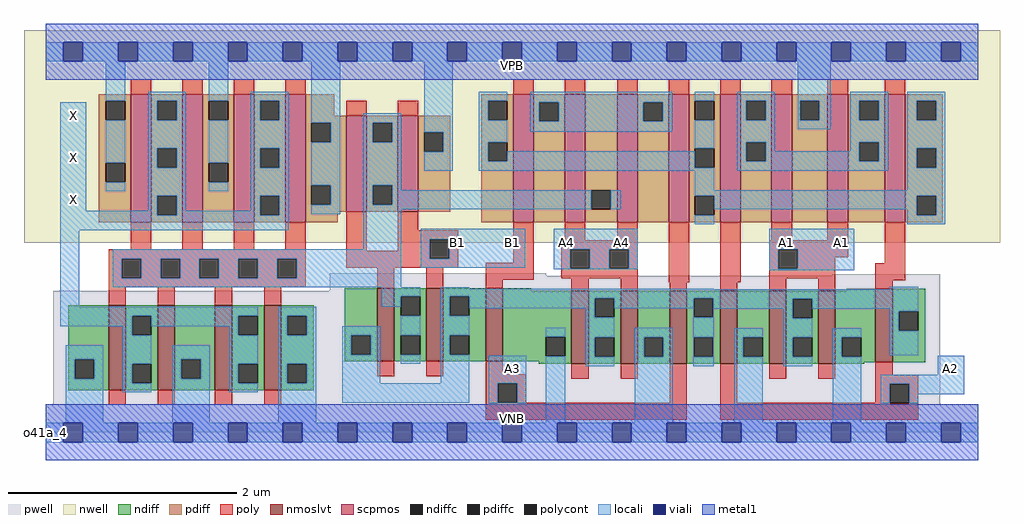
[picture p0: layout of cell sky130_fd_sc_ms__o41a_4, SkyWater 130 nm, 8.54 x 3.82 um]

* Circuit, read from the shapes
.subckt sky130_fd_sc_ms__o41a_4 A1 A2 A3 A4 B1 VGND VNB VPB VPWR X
XM1 X n1 VGND VNB sky130_fd_pr__nfet_01v8_lvt w=0.74 l=0.15 m=4
XM2 n1 B1 n2 VNB sky130_fd_pr__nfet_01v8_lvt w=0.64 l=0.15 m=2
XM3 VGND A3 n2 VNB sky130_fd_pr__nfet_01v8_lvt w=0.64 l=0.15 m=2
XM4 n2 A4 VGND VNB sky130_fd_pr__nfet_01v8_lvt w=0.64 l=0.15 m=2
XM5 VGND A2 n2 VNB sky130_fd_pr__nfet_01v8_lvt w=0.64 l=0.15 m=2
XM6 n2 A1 VGND VNB sky130_fd_pr__nfet_01v8_lvt w=0.64 l=0.15 m=2
XM7 X n1 VPWR VPB sky130_fd_pr__pfet_01v8 w=1.12 l=0.18 m=4
XM8 n1 B1 VPWR VPB sky130_fd_pr__pfet_01v8 w=0.84 l=0.18 m=2
XM9 n3 A3 n4 VPB sky130_fd_pr__pfet_01v8 w=1.12 l=0.18 m=2
XM10 n1 A4 n3 VPB sky130_fd_pr__pfet_01v8 w=1.12 l=0.18 m=2
XM11 n5 A2 n4 VPB sky130_fd_pr__pfet_01v8 w=1.12 l=0.18 m=2
XM12 VPWR A1 n5 VPB sky130_fd_pr__pfet_01v8 w=1.12 l=0.18 m=2
.ends

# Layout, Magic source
magic
tech sky130A
magscale 1 2
<< nwell >>
rect -38 332 1670 704
<< pwell >>
rect 497 274 876 278
rect 1376 274 1565 277
rect 497 248 1565 274
rect 13 49 1565 248
rect 0 0 1632 49
<< scpmos >>
rect 149 368 185 592
rect 239 368 275 592
rect 329 368 365 592
rect 419 368 455 592
rect 526 386 562 554
rect 616 386 652 554
rect 818 368 854 592
rect 908 368 944 592
rect 1000 368 1036 592
rect 1090 368 1126 592
rect 1180 368 1216 592
rect 1270 368 1306 592
rect 1368 368 1404 592
rect 1468 368 1504 592
<< nmoslvt >>
rect 110 74 140 222
rect 196 74 226 222
rect 296 74 326 222
rect 382 74 412 222
rect 580 124 610 252
rect 666 124 696 252
rect 770 124 800 252
rect 920 120 950 248
rect 1006 120 1036 248
rect 1092 120 1122 248
rect 1180 120 1210 248
rect 1266 120 1296 248
rect 1352 120 1382 248
rect 1452 123 1482 251
<< ndiff >>
rect 39 128 110 222
rect 39 94 51 128
rect 85 94 110 128
rect 39 74 110 94
rect 140 204 196 222
rect 140 170 151 204
rect 185 170 196 204
rect 140 120 196 170
rect 140 86 151 120
rect 185 86 196 120
rect 140 74 196 86
rect 226 128 296 222
rect 226 94 237 128
rect 271 94 296 128
rect 226 74 296 94
rect 326 204 382 222
rect 326 170 337 204
rect 371 170 382 204
rect 326 120 382 170
rect 326 86 337 120
rect 371 86 382 120
rect 326 74 382 86
rect 412 204 469 222
rect 412 170 423 204
rect 457 170 469 204
rect 412 120 469 170
rect 523 170 580 252
rect 523 136 535 170
rect 569 136 580 170
rect 523 124 580 136
rect 610 238 666 252
rect 610 204 621 238
rect 655 204 666 238
rect 610 170 666 204
rect 610 136 621 170
rect 655 136 666 170
rect 610 124 666 136
rect 696 238 770 252
rect 696 204 707 238
rect 741 204 770 238
rect 696 170 770 204
rect 696 136 707 170
rect 741 136 770 170
rect 696 124 770 136
rect 800 248 850 252
rect 1402 248 1452 251
rect 800 167 920 248
rect 800 133 875 167
rect 909 133 920 167
rect 800 124 920 133
rect 412 86 423 120
rect 457 86 469 120
rect 863 120 920 124
rect 950 235 1006 248
rect 950 201 961 235
rect 995 201 1006 235
rect 950 166 1006 201
rect 950 132 961 166
rect 995 132 1006 166
rect 950 120 1006 132
rect 1036 166 1092 248
rect 1036 132 1047 166
rect 1081 132 1092 166
rect 1036 120 1092 132
rect 1122 235 1180 248
rect 1122 201 1134 235
rect 1168 201 1180 235
rect 1122 166 1180 201
rect 1122 132 1134 166
rect 1168 132 1180 166
rect 1122 120 1180 132
rect 1210 166 1266 248
rect 1210 132 1221 166
rect 1255 132 1266 166
rect 1210 120 1266 132
rect 1296 234 1352 248
rect 1296 200 1307 234
rect 1341 200 1352 234
rect 1296 166 1352 200
rect 1296 132 1307 166
rect 1341 132 1352 166
rect 1296 120 1352 132
rect 1382 166 1452 248
rect 1382 132 1393 166
rect 1427 132 1452 166
rect 1382 123 1452 132
rect 1482 212 1539 251
rect 1482 178 1493 212
rect 1527 178 1539 212
rect 1482 123 1539 178
rect 1382 120 1432 123
rect 412 74 469 86
<< pdiff >>
rect 93 580 149 592
rect 93 546 105 580
rect 139 546 149 580
rect 93 472 149 546
rect 93 438 105 472
rect 139 438 149 472
rect 93 368 149 438
rect 185 580 239 592
rect 185 546 195 580
rect 229 546 239 580
rect 185 497 239 546
rect 185 463 195 497
rect 229 463 239 497
rect 185 414 239 463
rect 185 380 195 414
rect 229 380 239 414
rect 185 368 239 380
rect 275 580 329 592
rect 275 546 285 580
rect 319 546 329 580
rect 275 472 329 546
rect 275 438 285 472
rect 319 438 329 472
rect 275 368 329 438
rect 365 580 419 592
rect 365 546 375 580
rect 409 546 419 580
rect 365 497 419 546
rect 365 463 375 497
rect 409 463 419 497
rect 365 414 419 463
rect 365 380 375 414
rect 409 380 419 414
rect 365 368 419 380
rect 455 554 505 592
rect 762 580 818 592
rect 455 542 526 554
rect 455 508 465 542
rect 499 508 526 542
rect 455 432 526 508
rect 455 398 465 432
rect 499 398 526 432
rect 455 386 526 398
rect 562 542 616 554
rect 562 508 572 542
rect 606 508 616 542
rect 562 432 616 508
rect 562 398 572 432
rect 606 398 616 432
rect 562 386 616 398
rect 652 525 708 554
rect 652 491 662 525
rect 696 491 708 525
rect 652 386 708 491
rect 762 546 774 580
rect 808 546 818 580
rect 762 508 818 546
rect 762 474 774 508
rect 808 474 818 508
rect 455 368 511 386
rect 762 368 818 474
rect 854 578 908 592
rect 854 544 864 578
rect 898 544 908 578
rect 854 368 908 544
rect 944 424 1000 592
rect 944 390 955 424
rect 989 390 1000 424
rect 944 368 1000 390
rect 1036 578 1090 592
rect 1036 544 1046 578
rect 1080 544 1090 578
rect 1036 368 1090 544
rect 1126 580 1180 592
rect 1126 546 1136 580
rect 1170 546 1180 580
rect 1126 497 1180 546
rect 1126 463 1136 497
rect 1170 463 1180 497
rect 1126 414 1180 463
rect 1126 380 1136 414
rect 1170 380 1180 414
rect 1126 368 1180 380
rect 1216 580 1270 592
rect 1216 546 1226 580
rect 1260 546 1270 580
rect 1216 508 1270 546
rect 1216 474 1226 508
rect 1260 474 1270 508
rect 1216 368 1270 474
rect 1306 580 1368 592
rect 1306 546 1320 580
rect 1354 546 1368 580
rect 1306 368 1368 546
rect 1404 580 1468 592
rect 1404 546 1424 580
rect 1458 546 1468 580
rect 1404 508 1468 546
rect 1404 474 1424 508
rect 1458 474 1468 508
rect 1404 368 1468 474
rect 1504 580 1570 592
rect 1504 546 1524 580
rect 1558 546 1570 580
rect 1504 497 1570 546
rect 1504 463 1524 497
rect 1558 463 1570 497
rect 1504 414 1570 463
rect 1504 380 1524 414
rect 1558 380 1570 414
rect 1504 368 1570 380
<< ndiffc >>
rect 51 94 85 128
rect 151 170 185 204
rect 151 86 185 120
rect 237 94 271 128
rect 337 170 371 204
rect 337 86 371 120
rect 423 170 457 204
rect 535 136 569 170
rect 621 204 655 238
rect 621 136 655 170
rect 707 204 741 238
rect 707 136 741 170
rect 875 133 909 167
rect 423 86 457 120
rect 961 201 995 235
rect 961 132 995 166
rect 1047 132 1081 166
rect 1134 201 1168 235
rect 1134 132 1168 166
rect 1221 132 1255 166
rect 1307 200 1341 234
rect 1307 132 1341 166
rect 1393 132 1427 166
rect 1493 178 1527 212
<< pdiffc >>
rect 105 546 139 580
rect 105 438 139 472
rect 195 546 229 580
rect 195 463 229 497
rect 195 380 229 414
rect 285 546 319 580
rect 285 438 319 472
rect 375 546 409 580
rect 375 463 409 497
rect 375 380 409 414
rect 465 508 499 542
rect 465 398 499 432
rect 572 508 606 542
rect 572 398 606 432
rect 662 491 696 525
rect 774 546 808 580
rect 774 474 808 508
rect 864 544 898 578
rect 955 390 989 424
rect 1046 544 1080 578
rect 1136 546 1170 580
rect 1136 463 1170 497
rect 1136 380 1170 414
rect 1226 546 1260 580
rect 1226 474 1260 508
rect 1320 546 1354 580
rect 1424 546 1458 580
rect 1424 474 1458 508
rect 1524 546 1558 580
rect 1524 463 1558 497
rect 1524 380 1558 414
<< poly >>
rect 149 592 185 618
rect 239 592 275 618
rect 329 592 365 618
rect 419 592 455 618
rect 818 592 854 618
rect 908 592 944 618
rect 1000 592 1036 618
rect 1090 592 1126 618
rect 1180 592 1216 618
rect 1270 592 1306 618
rect 1368 592 1404 618
rect 1468 592 1504 618
rect 526 554 562 580
rect 616 554 652 580
rect 149 320 185 368
rect 239 320 275 368
rect 329 320 365 368
rect 419 320 455 368
rect 110 304 455 320
rect 110 270 133 304
rect 167 270 201 304
rect 235 270 269 304
rect 303 270 337 304
rect 371 270 405 304
rect 439 270 455 304
rect 526 318 562 386
rect 616 354 652 386
rect 616 338 722 354
rect 616 318 672 338
rect 526 304 672 318
rect 706 304 722 338
rect 526 288 722 304
rect 818 297 854 368
rect 908 336 944 368
rect 1000 336 1036 368
rect 110 254 455 270
rect 110 222 140 254
rect 196 222 226 254
rect 296 222 326 254
rect 382 222 412 254
rect 580 252 610 288
rect 666 252 696 288
rect 770 267 854 297
rect 902 320 1036 336
rect 902 286 918 320
rect 952 286 986 320
rect 1020 286 1036 320
rect 902 270 1036 286
rect 770 252 800 267
rect 920 248 950 270
rect 1006 248 1036 270
rect 1090 263 1126 368
rect 1180 263 1216 368
rect 1270 336 1306 368
rect 1368 336 1404 368
rect 1266 320 1404 336
rect 1266 286 1282 320
rect 1316 306 1404 320
rect 1316 286 1382 306
rect 1468 296 1504 368
rect 1266 270 1382 286
rect 1092 248 1122 263
rect 1180 248 1210 263
rect 1266 248 1296 270
rect 1352 248 1382 270
rect 1452 266 1504 296
rect 1452 251 1482 266
rect 580 98 610 124
rect 666 98 696 124
rect 770 102 800 124
rect 770 86 841 102
rect 920 94 950 120
rect 1006 94 1036 120
rect 110 48 140 74
rect 196 48 226 74
rect 296 48 326 74
rect 382 48 412 74
rect 770 52 791 86
rect 825 52 841 86
rect 1092 52 1122 120
rect 770 22 1122 52
rect 1180 52 1210 120
rect 1266 94 1296 120
rect 1352 94 1382 120
rect 1452 101 1482 123
rect 1452 85 1527 101
rect 1452 52 1477 85
rect 1180 51 1477 52
rect 1511 51 1527 85
rect 1180 22 1527 51
<< polycont >>
rect 133 270 167 304
rect 201 270 235 304
rect 269 270 303 304
rect 337 270 371 304
rect 405 270 439 304
rect 672 304 706 338
rect 918 286 952 320
rect 986 286 1020 320
rect 1282 286 1316 320
rect 791 52 825 86
rect 1477 51 1511 85
<< locali >>
rect 0 649 31 683
rect 65 649 127 683
rect 161 649 223 683
rect 257 649 319 683
rect 353 649 415 683
rect 449 649 511 683
rect 545 649 607 683
rect 641 649 703 683
rect 737 649 799 683
rect 833 649 895 683
rect 929 649 991 683
rect 1025 649 1087 683
rect 1121 649 1183 683
rect 1217 649 1279 683
rect 1313 649 1375 683
rect 1409 649 1471 683
rect 1505 649 1567 683
rect 1601 649 1632 683
rect 105 580 139 649
rect 25 388 71 578
rect 105 472 139 546
rect 105 422 139 438
rect 179 580 245 596
rect 179 546 195 580
rect 229 546 245 580
rect 179 497 245 546
rect 179 463 195 497
rect 229 463 245 497
rect 179 414 245 463
rect 285 580 319 649
rect 285 472 319 546
rect 285 422 319 438
rect 359 580 425 596
rect 359 546 375 580
rect 409 546 425 580
rect 359 497 425 546
rect 359 463 375 497
rect 409 463 425 497
rect 179 388 195 414
rect 25 380 195 388
rect 229 388 245 414
rect 359 414 425 463
rect 359 388 375 414
rect 229 380 375 388
rect 409 380 425 414
rect 465 542 515 649
rect 499 508 515 542
rect 465 432 515 508
rect 499 398 515 432
rect 465 382 515 398
rect 556 542 622 558
rect 556 508 572 542
rect 606 508 622 542
rect 556 432 622 508
rect 662 525 712 649
rect 696 491 712 525
rect 662 458 712 491
rect 758 580 808 596
rect 758 546 774 580
rect 758 508 808 546
rect 848 578 1096 596
rect 848 544 864 578
rect 898 544 1046 578
rect 1080 544 1096 578
rect 848 526 1096 544
rect 1136 580 1170 596
rect 758 474 774 508
rect 1136 497 1170 546
rect 808 474 1136 492
rect 758 463 1136 474
rect 758 458 1170 463
rect 1210 580 1276 596
rect 1210 546 1226 580
rect 1260 546 1276 580
rect 1210 508 1276 546
rect 1316 580 1374 649
rect 1316 546 1320 580
rect 1354 546 1374 580
rect 1316 530 1374 546
rect 1408 580 1474 596
rect 1408 546 1424 580
rect 1458 546 1474 580
rect 1210 474 1226 508
rect 1260 492 1276 508
rect 1408 508 1474 546
rect 1408 492 1424 508
rect 1260 474 1424 492
rect 1458 474 1474 508
rect 1210 458 1474 474
rect 1508 580 1574 596
rect 1508 546 1524 580
rect 1558 546 1574 580
rect 1508 497 1574 546
rect 1508 463 1524 497
rect 1558 463 1574 497
rect 556 398 572 432
rect 606 424 622 432
rect 1136 424 1170 458
rect 1508 424 1574 463
rect 606 398 955 424
rect 556 390 955 398
rect 989 390 1006 424
rect 1136 414 1574 424
rect 25 354 425 380
rect 25 220 59 354
rect 556 320 622 390
rect 1170 390 1524 414
rect 1136 364 1170 380
rect 1508 380 1524 390
rect 1558 380 1574 414
rect 1508 364 1574 380
rect 117 304 622 320
rect 117 270 133 304
rect 167 270 201 304
rect 235 270 269 304
rect 303 270 337 304
rect 371 270 405 304
rect 439 270 622 304
rect 656 338 839 356
rect 656 304 672 338
rect 706 304 839 338
rect 656 288 839 304
rect 889 320 1036 356
rect 889 286 918 320
rect 952 286 986 320
rect 1020 286 1036 320
rect 889 285 1036 286
rect 1266 320 1415 356
rect 1266 286 1282 320
rect 1316 286 1415 320
rect 1266 284 1415 286
rect 117 254 622 270
rect 588 238 655 254
rect 588 220 621 238
rect 25 204 371 220
rect 25 186 151 204
rect 135 170 151 186
rect 185 186 337 204
rect 35 128 101 152
rect 35 94 51 128
rect 85 94 101 128
rect 35 17 101 94
rect 135 120 185 170
rect 321 170 337 186
rect 135 86 151 120
rect 135 70 185 86
rect 221 128 287 152
rect 221 94 237 128
rect 271 94 287 128
rect 221 17 287 94
rect 321 120 371 170
rect 321 86 337 120
rect 321 70 371 86
rect 407 204 473 220
rect 407 170 423 204
rect 457 170 473 204
rect 407 120 473 170
rect 407 86 423 120
rect 457 86 473 120
rect 407 17 473 86
rect 519 170 585 186
rect 519 136 535 170
rect 569 136 585 170
rect 519 86 585 136
rect 621 170 655 204
rect 621 120 655 136
rect 691 251 741 254
rect 691 250 1169 251
rect 1477 250 1527 255
rect 691 238 1527 250
rect 691 204 707 238
rect 741 235 1527 238
rect 741 217 961 235
rect 691 170 741 204
rect 945 201 961 217
rect 995 217 1134 235
rect 691 136 707 170
rect 691 86 741 136
rect 875 167 909 183
rect 519 52 741 86
rect 775 86 841 134
rect 775 52 791 86
rect 825 52 841 86
rect 775 51 841 52
rect 875 17 909 133
rect 945 166 995 201
rect 1133 201 1134 217
rect 1168 234 1527 235
rect 1168 216 1307 234
rect 1168 201 1169 216
rect 945 132 961 166
rect 945 116 995 132
rect 1031 166 1097 183
rect 1031 132 1047 166
rect 1081 132 1097 166
rect 1031 17 1097 132
rect 1133 166 1169 201
rect 1291 200 1307 216
rect 1341 216 1527 234
rect 1133 132 1134 166
rect 1168 132 1169 166
rect 1133 116 1169 132
rect 1205 166 1255 182
rect 1205 132 1221 166
rect 1205 17 1255 132
rect 1291 166 1341 200
rect 1477 212 1527 216
rect 1291 132 1307 166
rect 1291 116 1341 132
rect 1377 166 1427 182
rect 1377 132 1393 166
rect 1477 178 1493 212
rect 1477 135 1527 178
rect 1377 17 1427 132
rect 1561 101 1607 134
rect 1461 85 1607 101
rect 1461 51 1477 85
rect 1511 67 1607 85
rect 1511 51 1527 67
rect 0 -17 31 17
rect 65 -17 127 17
rect 161 -17 223 17
rect 257 -17 319 17
rect 353 -17 415 17
rect 449 -17 511 17
rect 545 -17 607 17
rect 641 -17 703 17
rect 737 -17 799 17
rect 833 -17 895 17
rect 929 -17 991 17
rect 1025 -17 1087 17
rect 1121 -17 1183 17
rect 1217 -17 1279 17
rect 1313 -17 1375 17
rect 1409 -17 1471 17
rect 1505 -17 1567 17
rect 1601 -17 1632 17
<< viali >>
rect 31 649 65 683
rect 127 649 161 683
rect 223 649 257 683
rect 319 649 353 683
rect 415 649 449 683
rect 511 649 545 683
rect 607 649 641 683
rect 703 649 737 683
rect 799 649 833 683
rect 895 649 929 683
rect 991 649 1025 683
rect 1087 649 1121 683
rect 1183 649 1217 683
rect 1279 649 1313 683
rect 1375 649 1409 683
rect 1471 649 1505 683
rect 1567 649 1601 683
rect 31 -17 65 17
rect 127 -17 161 17
rect 223 -17 257 17
rect 319 -17 353 17
rect 415 -17 449 17
rect 511 -17 545 17
rect 607 -17 641 17
rect 703 -17 737 17
rect 799 -17 833 17
rect 895 -17 929 17
rect 991 -17 1025 17
rect 1087 -17 1121 17
rect 1183 -17 1217 17
rect 1279 -17 1313 17
rect 1375 -17 1409 17
rect 1471 -17 1505 17
rect 1567 -17 1601 17
<< metal1 >>
rect 0 683 1632 715
rect 0 649 31 683
rect 65 649 127 683
rect 161 649 223 683
rect 257 649 319 683
rect 353 649 415 683
rect 449 649 511 683
rect 545 649 607 683
rect 641 649 703 683
rect 737 649 799 683
rect 833 649 895 683
rect 929 649 991 683
rect 1025 649 1087 683
rect 1121 649 1183 683
rect 1217 649 1279 683
rect 1313 649 1375 683
rect 1409 649 1471 683
rect 1505 649 1567 683
rect 1601 649 1632 683
rect 0 617 1632 649
rect 0 17 1632 49
rect 0 -17 31 17
rect 65 -17 127 17
rect 161 -17 223 17
rect 257 -17 319 17
rect 353 -17 415 17
rect 449 -17 511 17
rect 545 -17 607 17
rect 641 -17 703 17
rect 737 -17 799 17
rect 833 -17 895 17
rect 929 -17 991 17
rect 1025 -17 1087 17
rect 1121 -17 1183 17
rect 1217 -17 1279 17
rect 1313 -17 1375 17
rect 1409 -17 1471 17
rect 1505 -17 1567 17
rect 1601 -17 1632 17
rect 0 -49 1632 -17
<< labels >>
flabel pwell s 0 0 1632 49 0 FreeSans 200 0 0 0 VNB
port 7 nsew ground bidirectional
flabel nwell s 0 617 1632 666 0 FreeSans 200 0 0 0 VPB
port 8 nsew power bidirectional
rlabel comment s 0 0 0 0 4 o41a_4
flabel metal1 s 0 617 1632 666 0 FreeSans 340 0 0 0 VPWR
port 9 nsew power bidirectional
flabel metal1 s 0 0 1632 49 0 FreeSans 340 0 0 0 VGND
port 6 nsew ground bidirectional
flabel locali s 703 316 737 350 0 FreeSans 340 0 0 0 B1
port 5 nsew signal input
flabel locali s 799 316 833 350 0 FreeSans 340 0 0 0 B1
port 5 nsew signal input
flabel locali s 31 390 65 424 0 FreeSans 340 0 0 0 X
port 10 nsew signal output
flabel locali s 31 464 65 498 0 FreeSans 340 0 0 0 X
port 10 nsew signal output
flabel locali s 31 538 65 572 0 FreeSans 340 0 0 0 X
port 10 nsew signal output
flabel locali s 1279 316 1313 350 0 FreeSans 340 0 0 0 A1
port 1 nsew signal input
flabel locali s 1375 316 1409 350 0 FreeSans 340 0 0 0 A1
port 1 nsew signal input
flabel locali s 1567 94 1601 128 0 FreeSans 340 0 0 0 A2
port 2 nsew signal input
flabel locali s 799 94 833 128 0 FreeSans 340 0 0 0 A3
port 3 nsew signal input
flabel locali s 895 316 929 350 0 FreeSans 340 0 0 0 A4
port 4 nsew signal input
flabel locali s 991 316 1025 350 0 FreeSans 340 0 0 0 A4
port 4 nsew signal input
<< properties >>
string LEFsite unit
string LEFclass CORE
string FIXED_BBOX 0 0 1632 666
string GDS_FILE $PDKPATH/libs.ref/sky130_fd_sc_ms/gds/sky130_fd_sc_ms.gds
string LEFsymmetry X Y
string GDS_END 372898
string GDS_START 360204
<< end >>
